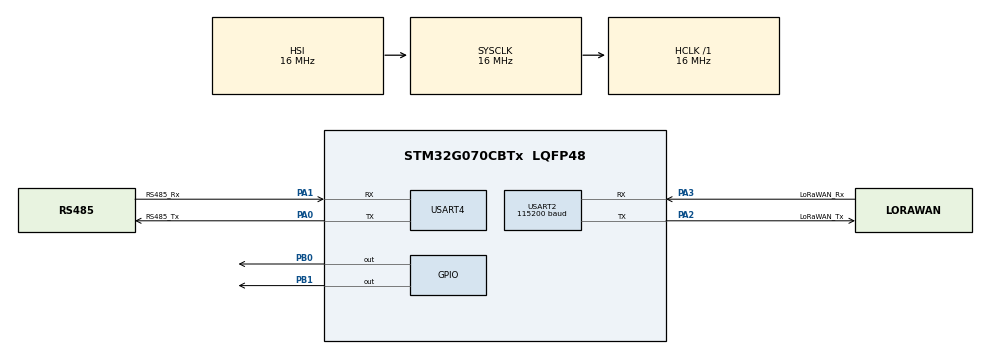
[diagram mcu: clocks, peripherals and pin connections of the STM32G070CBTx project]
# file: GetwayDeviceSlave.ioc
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Mcu.Family=STM32G0
Mcu.Name=STM32G070CBTx
Mcu.Package=LQFP48
NVIC.FLASH_IRQn=true\:0\:0\:false\:false\:true\:true\:true\:true
NVIC.RCC_IRQn=true\:0\:0\:false\:false\:true\:true\:false\:true
NVIC.USART2_IRQn=true\:1\:0\:true\:false\:true\:true\:true\:true
NVIC.USART3_4_IRQn=true\:0\:0\:false\:false\:true\:true\:true\:true
PA0.GPIO_Label=RS485_Tx
PA0.GPIO_PuPd=GPIO_PULLUP
PA0.GPIO_Speed=GPIO_SPEED_FREQ_VERY_HIGH
PA0.Mode=Asynchronous
PA0.PinState=GPIO_PIN_RESET
PA0.Signal=USART4_TX
PA1.GPIO_Label=RS485_Rx
PA1.GPIO_PuPd=GPIO_PULLDOWN
PA1.GPIO_Speed=GPIO_SPEED_FREQ_VERY_HIGH
PA1.Mode=Asynchronous
PA1.PinState=GPIO_PIN_RESET
PA1.Signal=USART4_RX
PA13.Mode=Serial_Wire
PA13.Signal=SYS_SWDIO
PA14-BOOT0.Mode=Serial_Wire
PA14-BOOT0.Signal=SYS_SWCLK
PA2.GPIO_Label=LoRaWAN_Tx
PA2.GPIO_PuPd=GPIO_PULLDOWN
PA2.GPIO_Speed=GPIO_SPEED_FREQ_VERY_HIGH
PA2.Mode=Asynchronous
PA2.PinState=GPIO_PIN_RESET
PA2.Signal=USART2_TX
PA3.GPIO_Label=LoRaWAN_Rx
PA3.GPIO_PuPd=GPIO_PULLDOWN
PA3.GPIO_Speed=GPIO_SPEED_FREQ_VERY_HIGH
PA3.Mode=Asynchronous
PA3.Signal=USART2_RX
PB0.Signal=GPIO_Output
PB1.Signal=GPIO_Output
ProjectManager.HeapSize=0x200
ProjectManager.StackSize=0x400
ProjectManager.TargetToolchain=STM32CubeIDE
RCC.AHBFreq_Value=16000000
RCC.CortexFreq_Value=16000000
RCC.EXTERNAL_CLOCK_VALUE=48000
RCC.HCLKFreq_Value=16000000
RCC.HSE_VALUE=8000000
RCC.HSI_VALUE=16000000
RCC.LSE_VALUE=32768
RCC.SYSCLKFreq_VALUE=16000000
RCC.VCOOutputFreq_Value=128000000
TIM3.AutoReloadPreload=TIM_AUTORELOAD_PRELOAD_ENABLE
TIM3.Prescaler=16000
USART2.BaudRate=115200
USART2.VirtualMode-Asynchronous=VM_ASYNC
USART4.VirtualMode-Asynchronous=VM_ASYNC
VP_SYS_VS_DBSignals.Mode=DisableDeadBatterySignals
VP_TIM3_VS_ClockSourceINT.Mode=Internal
board=custom

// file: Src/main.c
/* USER CODE BEGIN Header */
/**
  ******************************************************************************
  * @file           : main.c
  * @brief          : Main program body
  ******************************************************************************
  * @attention
  *
  * Copyright (c) 2022 STMicroelectronics.
  * All rights reserved.
  *
  * This software is licensed under terms that can be found in the LICENSE file
  * in the root directory of this software component.
  * If no LICENSE file comes with this software, it is provided AS-IS.
  *
  ******************************************************************************
  */
/* USER CODE END Header */
#include "main.h"

/* USER CODE BEGIN Includes */
#include <stdio.h>
#include <string.h>
/* USER CODE END Includes */

TIM_HandleTypeDef htim3;

UART_HandleTypeDef huart2;
UART_HandleTypeDef huart4;

/* USER CODE BEGIN PV */
uint8_t lorawanData[uartBytes];
uint8_t lorawanDataChar = 0;
uint16_t lorawanDataCount = 0;

uint8_t modbusData[uartBytes];
uint8_t modbusDataChar = 0;
uint16_t modbusDataCount = 0;

uint8_t requestModbus1[7] = {0x01, 0x04, 0x00, 0x00, 0x01, 0xD9, 0x30};
uint8_t requestModbus2[8] = {0x02, 0x04, 0x00, 0x01, 0x00, 0x04, 0xA0, 0x3A};

uint8_t dataFull[50];
uint8_t isLampTower = 0;
uint8_t isSensorCounter = 0;
uint8_t lampStatus = 0;
uint8_t sensorCounter1_H = 0, sensorCounter1_L = 0;
uint8_t sensorCounter2_H = 0, sensorCounter2_L = 0;
uint8_t sensorCounter3_H = 0, sensorCounter3_L = 0;

uint8_t debug = 0;

/* USER CODE END PV */

void SystemClock_Config(void);
static void MX_GPIO_Init(void);
static void MX_USART2_UART_Init(void);
static void MX_USART4_UART_Init(void);
static void MX_TIM3_Init(void);
/* USER CODE BEGIN PFP */
void clearData(uint8_t *ptrBuffer, uint16_t sizeBuffer);
void lorawanTransHandle(void);
/* USER CODE END PFP */

/* USER CODE BEGIN 0 */
void HAL_UART_RxCpltCallback(UART_HandleTypeDef *huart)
{
  UNUSED(huart);

  if(huart->Instance == USART2)
  {
    HAL_UART_Receive_IT(&huart2, &lorawanDataChar, 1);
    lorawanData[lorawanDataCount] = lorawanDataChar;
    lorawanDataCount++;
    if(lorawanData[0] == 0xAA) lorawanTransHandle();
    clearData(lorawanData, uartBytes);
  }

  if(huart->Instance == USART4)
  {
    HAL_UART_Receive_IT(&huart4, &modbusDataChar, 1);
    modbusData[modbusDataCount] = modbusDataChar;
    modbusDataCount++;
  }
}
/* USER CODE END 0 */

int main(void)
{

  /* MCU Configuration--------------------------------------------------------*/

  /* Reset of all peripherals, Initializes the Flash interface and the Systick. */
  HAL_Init();

  /* Configure the system clock */
  SystemClock_Config();

  /* Initialize all configured peripherals */
  MX_GPIO_Init();
  MX_USART2_UART_Init();
  MX_USART4_UART_Init();
  MX_TIM3_Init();
  /* USER CODE BEGIN 2 */
  HAL_TIM_Base_Start(&htim3);
  HAL_UART_Receive_IT(&huart2, &lorawanDataChar, 1);
  HAL_UART_Receive_IT(&huart4, &modbusDataChar, 1);

  /* USER CODE END 2 */

  /* Infinite loop */
  /* USER CODE BEGIN WHILE */
  while (1)
  {
    HAL_UART_Transmit(&huart4, requestModbus1, sizeof(requestModbus1), 1000);
    HAL_Delay(500);

    if(strlen((char*)modbusData) != 0)
    {
      isLampTower = 1;
      lampStatus = modbusData[5];
    }
    else isLampTower = 0;
    clearData(modbusData, uartBytes);

    HAL_UART_Transmit(&huart4, requestModbus2, sizeof(requestModbus2), 1000);
    HAL_Delay(500);

    if(strlen((char*)modbusData) != 0)
    {
      isSensorCounter = 1;
      sensorCounter1_H = modbusData[3];
      sensorCounter1_L = modbusData[4];
      sensorCounter2_H = modbusData[5];
      sensorCounter2_L = modbusData[6];
      sensorCounter3_H = modbusData[7];
      sensorCounter3_L = modbusData[8];
    }
    else isSensorCounter = 0;
    clearData(modbusData, uartBytes);

    /* USER CODE END WHILE */

  }
}

void SystemClock_Config(void)
{
  RCC_OscInitTypeDef RCC_OscInitStruct = {0};
  RCC_ClkInitTypeDef RCC_ClkInitStruct = {0};

  /** Configure the main internal regulator output voltage
  */
  HAL_PWREx_ControlVoltageScaling(PWR_REGULATOR_VOLTAGE_SCALE1);

  /** Initializes the RCC Oscillators according to the specified parameters
  * in the RCC_OscInitTypeDef structure.
  */
  RCC_OscInitStruct.OscillatorType = RCC_OSCILLATORTYPE_HSI;
  RCC_OscInitStruct.HSIState = RCC_HSI_ON;
  RCC_OscInitStruct.HSIDiv = RCC_HSI_DIV1;
  RCC_OscInitStruct.HSICalibrationValue = RCC_HSICALIBRATION_DEFAULT;
  RCC_OscInitStruct.PLL.PLLState = RCC_PLL_NONE;
  if (HAL_RCC_OscConfig(&RCC_OscInitStruct) != HAL_OK)
  {
    Error_Handler();
  }

  /** Initializes the CPU, AHB and APB buses clocks
  */
  RCC_ClkInitStruct.ClockType = RCC_CLOCKTYPE_HCLK|RCC_CLOCKTYPE_SYSCLK
                              |RCC_CLOCKTYPE_PCLK1;
  RCC_ClkInitStruct.SYSCLKSource = RCC_SYSCLKSOURCE_HSI;
  RCC_ClkInitStruct.AHBCLKDivider = RCC_SYSCLK_DIV1;
  RCC_ClkInitStruct.APB1CLKDivider = RCC_HCLK_DIV1;

  if (HAL_RCC_ClockConfig(&RCC_ClkInitStruct, FLASH_LATENCY_0) != HAL_OK)
  {
    Error_Handler();
  }
}

static void MX_TIM3_Init(void)
{

  TIM_ClockConfigTypeDef sClockSourceConfig = {0};
  TIM_MasterConfigTypeDef sMasterConfig = {0};

  htim3.Instance = TIM3;
  htim3.Init.Prescaler = 16000;
  htim3.Init.CounterMode = TIM_COUNTERMODE_UP;
  htim3.Init.Period = 65535;
  htim3.Init.ClockDivision = TIM_CLOCKDIVISION_DIV1;
  htim3.Init.AutoReloadPreload = TIM_AUTORELOAD_PRELOAD_ENABLE;
  if (HAL_TIM_Base_Init(&htim3) != HAL_OK)
  {
    Error_Handler();
  }
  sClockSourceConfig.ClockSource = TIM_CLOCKSOURCE_INTERNAL;
  if (HAL_TIM_ConfigClockSource(&htim3, &sClockSourceConfig) != HAL_OK)
  {
    Error_Handler();
  }
  sMasterConfig.MasterOutputTrigger = TIM_TRGO_RESET;
  sMasterConfig.MasterSlaveMode = TIM_MASTERSLAVEMODE_DISABLE;
  if (HAL_TIMEx_MasterConfigSynchronization(&htim3, &sMasterConfig) != HAL_OK)
  {
    Error_Handler();
  }

}

static void MX_USART2_UART_Init(void)
{

  huart2.Instance = USART2;
  huart2.Init.BaudRate = 115200;
  huart2.Init.WordLength = UART_WORDLENGTH_8B;
  huart2.Init.StopBits = UART_STOPBITS_1;
  huart2.Init.Parity = UART_PARITY_NONE;
  huart2.Init.Mode = UART_MODE_TX_RX;
  huart2.Init.HwFlowCtl = UART_HWCONTROL_NONE;
  huart2.Init.OverSampling = UART_OVERSAMPLING_16;
  huart2.Init.OneBitSampling = UART_ONE_BIT_SAMPLE_DISABLE;
  huart2.Init.ClockPrescaler = UART_PRESCALER_DIV1;
  huart2.AdvancedInit.AdvFeatureInit = UART_ADVFEATURE_NO_INIT;
  if (HAL_UART_Init(&huart2) != HAL_OK)
  {
    Error_Handler();
  }
  if (HAL_UARTEx_SetTxFifoThreshold(&huart2, UART_TXFIFO_THRESHOLD_1_8) != HAL_OK)
  {
    Error_Handler();
  }
  if (HAL_UARTEx_SetRxFifoThreshold(&huart2, UART_RXFIFO_THRESHOLD_1_8) != HAL_OK)
  {
    Error_Handler();
  }
  if (HAL_UARTEx_DisableFifoMode(&huart2) != HAL_OK)
  {
    Error_Handler();
  }

}

static void MX_USART4_UART_Init(void)
{

  huart4.Instance = USART4;
  huart4.Init.BaudRate = 115200;
  huart4.Init.WordLength = UART_WORDLENGTH_8B;
  huart4.Init.StopBits = UART_STOPBITS_1;
  huart4.Init.Parity = UART_PARITY_NONE;
  huart4.Init.Mode = UART_MODE_TX_RX;
  huart4.Init.HwFlowCtl = UART_HWCONTROL_NONE;
  huart4.Init.OverSampling = UART_OVERSAMPLING_16;
  huart4.Init.OneBitSampling = UART_ONE_BIT_SAMPLE_DISABLE;
  huart4.Init.ClockPrescaler = UART_PRESCALER_DIV1;
  huart4.AdvancedInit.AdvFeatureInit = UART_ADVFEATURE_NO_INIT;
  if (HAL_UART_Init(&huart4) != HAL_OK)
  {
    Error_Handler();
  }

}

static void MX_GPIO_Init(void)
{

  /* GPIO Ports Clock Enable */
  __HAL_RCC_GPIOA_CLK_ENABLE();

}

/* USER CODE BEGIN 4 */
void clearData(uint8_t *ptrBuffer, uint16_t sizeBuffer)
{
  if(ptrBuffer == &modbusData[0]) modbusDataCount = 0;
  else if(ptrBuffer == &lorawanData[0]) lorawanDataCount = 0;

	for(uint16_t i = 0; i < sizeBuffer; i++) ptrBuffer[i] = '\0';
}

void lorawanTransHandle(void)
{
  dataFull[0] = 0x01;
  dataFull[1] = 0x01;
  dataFull[2] = 0x01;
  dataFull[3] = 0x02;
  dataFull[4] = 0x02;
  dataFull[5] = isLampTower;
  dataFull[6] = lampStatus;
  dataFull[7] = isSensorCounter;
  dataFull[8] = sensorCounter1_H;
  dataFull[9] = sensorCounter1_L;
  dataFull[10] = sensorCounter2_H;
  dataFull[11] = sensorCounter2_L;
  dataFull[12] = sensorCounter3_H;
  dataFull[13] = sensorCounter3_L;

  uint8_t sum = 0;
  for(uint8_t i = 5; i < 14; i++) sum += dataFull[i];
  dataFull[14] = sum;

  HAL_UART_Transmit(&huart2, dataFull, 15, 1000);
  clearData(dataFull, 50);
}
/* USER CODE END 4 */

void Error_Handler(void)
{
  __disable_irq();
  while (1)
  {
  }
}
